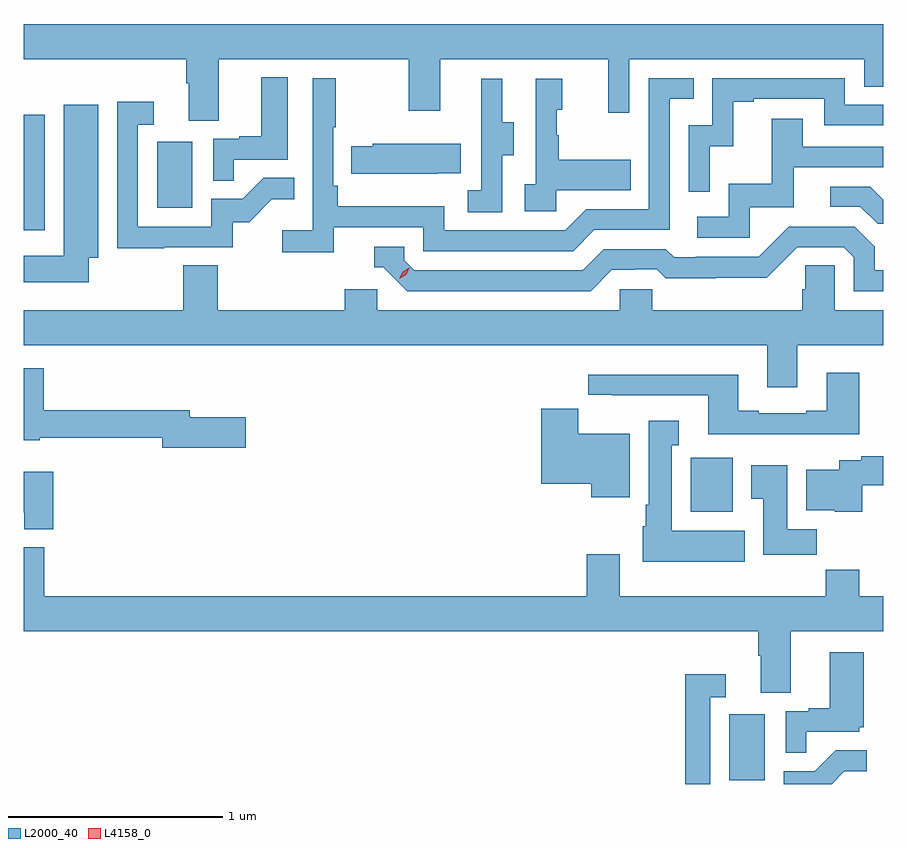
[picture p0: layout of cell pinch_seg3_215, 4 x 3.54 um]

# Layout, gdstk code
import gdstk
lib = gdstk.Library(unit=1e-6, precision=1e-09)
def R(c, l, rs):  # rectangles x0, y0, x1, y1
    for r in rs: c.add(gdstk.rectangle(r[:2], r[2:], *l))
def P(c, l, *ps):  # polygons
    for p in ps: c.add(gdstk.Polygon(p, *l))
L2000_40 = (2000, 40)
L4158_0 = (4158, 0)

pinch_seg3_215 = lib.new_cell('pinch_seg3_215')
R(pinch_seg3_215, L2000_40, [(941.432,736.188,941.596,736.495), (941.253,737.438,941.449,737.688), (938.148,738.747,938.244,739.286), (938.768,738.852,938.932,739.159)])
P(pinch_seg3_215, L2000_40, [(939.055,739.544),(939.94,739.544),(939.94,739.305),(940.087,739.305),(940.087,739.544),(940.868,739.544),(940.868,739.296),(940.965,739.296),(940.965,739.544),(942.06,739.544),(942.06,739.417),(942.148,739.417),(942.148,739.708),(938.148,739.708),(938.148,739.544),(938.903,739.544),(938.903,739.432),(938.915,739.432),(938.915,739.258),(939.055,739.258)],
  [(939.125,739.077),(939.376,739.077),(939.376,739.459),(939.254,739.459),(939.254,739.186),(939.151,739.186),(939.151,739.173),(939.03,739.173),(939.03,738.979),(939.125,738.979)],
  [(939.59,738.762),(940.008,738.762),(940.008,738.651),(940.705,738.651),(940.804,738.75),(941.154,738.75),(941.154,739.359),(941.267,739.359),(941.267,739.455),(941.058,739.455),(941.058,738.846),(940.767,738.846),(940.668,738.747),(940.104,738.747),(940.104,738.859),(939.608,738.859),(939.608,738.955),(939.588,738.955),(939.588,739.228),(939.601,739.228),(939.601,739.456),(939.492,739.456),(939.492,738.748),(939.351,738.748),(939.351,738.646),(939.59,738.646)],
  [(941.34,739.139),(941.45,739.139),(941.45,739.347),(941.545,739.347),(941.545,739.359),(941.874,739.359),(941.874,739.236),(942.148,739.236),(942.148,739.332),(941.97,739.332),(941.97,739.455),(941.352,739.455),(941.352,739.236),(941.244,739.236),(941.244,738.927),(941.34,738.927)],
  [(940.626,738.935),(940.973,738.935),(940.973,739.075),(940.639,739.075),(940.639,739.19),(940.629,739.19),(940.629,739.308),(940.654,739.308),(940.654,739.453),(940.53,739.453),(940.53,738.962),(940.479,738.962),(940.479,738.837),(940.626,738.837)],
  [(940.374,739.096),(940.429,739.096),(940.429,739.251),(940.375,739.251),(940.375,739.453),(940.277,739.453),(940.277,739.239),(940.278,739.239),(940.278,738.935),(940.215,738.935),(940.215,738.832),(940.374,738.832)],
  [(938.801,738.669),(939.12,738.669),(939.12,738.786),(939.196,738.786),(939.303,738.893),(939.407,738.893),(939.407,738.992),(939.264,738.992),(939.166,738.894),(939.021,738.894),(939.021,738.765),(938.679,738.765),(938.679,739.239),(938.752,739.239),(938.752,739.345),(938.583,739.345),(938.583,738.664),(938.801,738.664)],
  [(938.451,738.62),(938.494,738.62),(938.494,739.333),(938.333,739.333),(938.333,738.628),(938.148,738.628),(938.148,738.506),(938.451,738.506)],
  [(941.526,738.855),(941.731,738.855),(941.731,739.041),(942.148,739.041),(942.148,739.137),(941.773,739.137),(941.773,739.267),(941.629,739.267),(941.629,738.964),(941.43,738.964),(941.43,738.81),(941.283,738.81),(941.283,738.714),(941.526,738.714)],
  [(940.073,739.013),(940.181,739.013),(940.181,739.15),(939.771,739.15),(939.771,739.14),(939.673,739.14),(939.673,739.01),(940.073,739.01)],
  [(942.148,738.891),(942.088,738.951),(941.901,738.951),(941.901,738.858),(942.042,738.858),(942.122,738.778),(942.148,738.778)],
  [(940.885,738.564),(940.992,738.564),(940.992,738.567),(941.095,738.567),(941.137,738.525),(941.37,738.525),(941.37,738.527),(941.606,738.527),(941.748,738.669),(941.964,738.669),(942.012,738.621),(942.012,738.465),(942.148,738.465),(942.148,738.561),(942.109,738.561),(942.109,738.671),(942.015,738.765),(941.709,738.765),(941.568,738.624),(941.275,738.624),(941.275,738.621),(941.176,738.621),(941.137,738.66),(940.848,738.66),(940.749,738.561),(939.966,738.561),(939.918,738.609),(939.918,738.672),(939.779,738.672),(939.779,738.576),(939.822,738.576),(939.933,738.465),(940.786,738.465)],
  [(941.749,738.212),(942.148,738.212),(942.148,738.376),(941.922,738.376),(941.922,738.584),(941.785,738.584),(941.785,738.474),(941.771,738.474),(941.771,738.376),(941.073,738.376),(941.073,738.474),(940.923,738.474),(940.923,738.376),(939.792,738.376),(939.792,738.474),(939.641,738.474),(939.641,738.376),(939.05,738.376),(939.05,738.584),(938.89,738.584),(938.89,738.376),(938.148,738.376),(938.148,738.212),(941.609,738.212),(941.609,738.018),(941.749,738.018)],
  [(939.181,737.877),(938.92,737.877),(938.92,737.911),(938.24,737.911),(938.24,738.106),(938.148,738.106),(938.148,737.771),(938.221,737.771),(938.221,737.782),(938.792,737.782),(938.792,737.735),(939.181,737.735)],
  [(942.038,738.085),(941.885,738.085),(941.885,737.908),(941.789,737.908),(941.789,737.895),(941.569,737.895),(941.569,737.908),(941.473,737.908),(941.473,738.076),(940.776,738.076),(940.776,737.981),(940.885,737.981),(940.885,737.979),(941.333,737.979),(941.333,737.798),(942.038,737.798)],
  [(940.969,737.8),(940.729,737.8),(940.729,737.916),(940.556,737.916),(940.556,737.567),(940.79,737.567),(940.79,737.504),(940.969,737.504)],
  [(941.503,737.35),(941.164,737.35),(941.164,737.747),(941.197,737.747),(941.197,737.86),(941.057,737.86),(941.057,737.47),(941.042,737.47),(941.042,737.37),(941.03,737.37),(941.03,737.204),(941.503,737.204)],
  [(942.052,737.56),(942.148,737.56),(942.148,737.696),(942.046,737.696),(942.046,737.676),(941.943,737.676),(941.943,737.632),(941.789,737.632),(941.789,737.444),(941.922,737.444),(941.922,737.438),(942.052,737.438)],
  [(941.84,737.356),(941.701,737.356),(941.701,737.653),(941.534,737.653),(941.534,737.497),(941.591,737.497),(941.591,737.238),(941.84,737.238)],
  [(938.285,737.623),(938.148,737.623),(938.148,737.435),(938.15,737.435),(938.15,737.357),(938.285,737.357)],
  [(941.719,736.88),(942.148,736.88),(942.148,737.044),(942.038,737.044),(942.038,737.168),(941.881,737.168),(941.881,737.044),(940.921,737.044),(940.921,737.239),(940.769,737.239),(940.769,737.044),(938.243,737.044),(938.243,737.272),(938.148,737.272),(938.148,736.88),(941.567,736.88),(941.567,736.768),(941.579,736.768),(941.579,736.594),(941.719,736.594)],
  [(941.789,736.413),(942.036,736.413),(942.036,736.434),(942.058,736.434),(942.058,736.783),(941.9,736.783),(941.9,736.522),(941.801,736.522),(941.801,736.509),(941.694,736.509),(941.694,736.315),(941.789,736.315)],
  [(941.343,736.575),(941.416,736.575),(941.416,736.681),(941.227,736.681),(941.227,736.17),(941.343,736.17)],
  [(941.967,736.229),(942.071,736.229),(942.071,736.328),(941.927,736.328),(941.829,736.23),(941.685,736.23),(941.685,736.17),(941.908,736.17)])
P(pinch_seg3_215, L4158_0, [(939.896,738.522),(939.896,738.523),(939.912,738.555),(939.943,738.574),(939.943,738.574),(939.943,738.574),(939.927,738.541),(939.896,738.522)])

lib.write_gds('pinch_seg3_215.gds')
